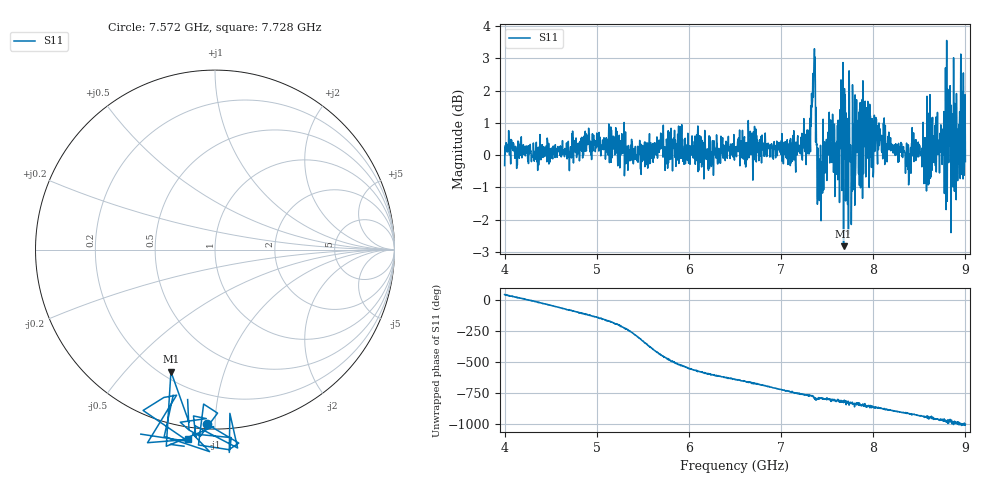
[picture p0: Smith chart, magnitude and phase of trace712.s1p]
! Created with skrf 1.8.0 (http://scikit-rf.org).
# Hz S RI R 50.0
!freq ReS11 ImS11
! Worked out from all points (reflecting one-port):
!   1601 points, 4 GHz to 9 GHz, reference 50 ohm
!   lowest |S11| = -2.8 dB at 7.678 GHz (marker M1), VSWR 6.22, Z = 11.9 - j33.8 ohm
!   phase of S11 starts at 44 deg and turns -1047 deg over the sweep
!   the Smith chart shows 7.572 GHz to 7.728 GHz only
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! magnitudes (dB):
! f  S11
! 4 GHz  -0.3
! 4.625 GHz  0.0
! 4.894 GHz  0.4
! 5.25 GHz  -0.4
! 5.875 GHz  0.0
! 6.5 GHz  0.2
! 7.125 GHz  0.4
! 7.294 GHz  0.1
! 7.347 GHz  2.5
! 7.362 GHz  3.3
! 7.4 GHz  0.2
! 7.416 GHz  -1.4
! 7.516 GHz  0.1
! 7.591 GHz  0.4
! 7.647 GHz  1.1
! 7.678 GHz  -2.8
! 7.75 GHz  -0.2
! 7.775 GHz  2.2
! 7.8 GHz  -1.6
! 7.891 GHz  0.4
! 8.375 GHz  -0.1
! 8.441 GHz  -0.2
! 8.581 GHz  -0.3
! 8.766 GHz  1.3
! 8.816 GHz  0.8
! 8.869 GHz  -0.3
! 8.953 GHz  -0.6
! 9 GHz  -0.2
